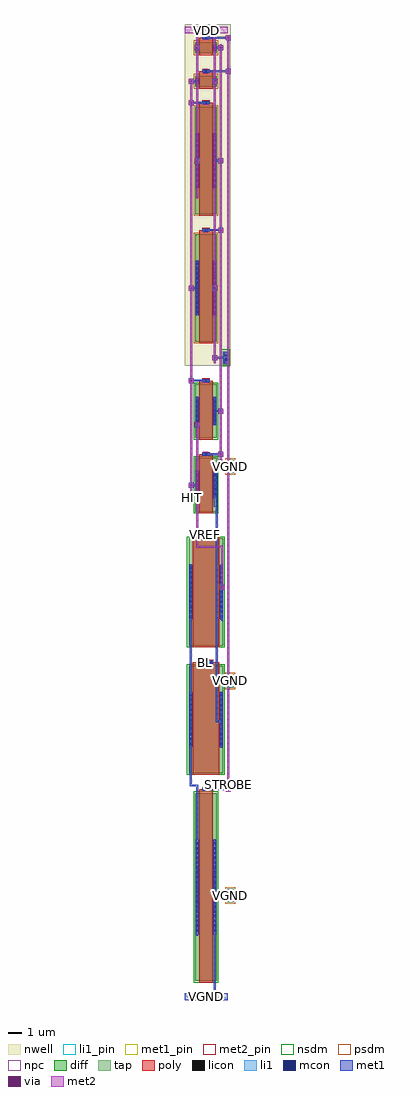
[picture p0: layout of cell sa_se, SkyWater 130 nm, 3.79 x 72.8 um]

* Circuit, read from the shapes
.subckt sa_se BL HIT HITB STROBE VDD VGND VREF
XM1 sa_inp_8/S BL sa_inp_7/D VGND sky130_fd_pr__nfet_01v8 w=8 l=2
XM2 sa_xc_n_2/D VREF sa_inp_7/D VGND sky130_fd_pr__nfet_01v8 w=8 l=2
XM3 VGND STROBE sa_inp_7/D VGND sky130_fd_pr__nfet_01v8 w=14 l=1
XM4 sa_inp_8/S HITB HIT VGND sky130_fd_pr__nfet_01v8 w=4 l=1
XM5 HITB HIT sa_xc_n_2/D VGND sky130_fd_pr__nfet_01v8 w=4 l=1
XM6 VDD HITB HIT VDD sky130_fd_pr__pfet_01v8 w=8 l=1
XM7 HITB HIT VDD VDD sky130_fd_pr__pfet_01v8 w=8 l=1
XM8 VDD STROBE HIT VDD sky130_fd_pr__pfet_01v8 w=0.84 l=1
XM9 HITB STROBE VDD VDD sky130_fd_pr__pfet_01v8 w=0.84 l=1
.ends

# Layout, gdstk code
import gdstk
lib = gdstk.Library(unit=1e-6, precision=1e-09)
def R(c, l, rs):  # rectangles x0, y0, x1, y1
    for r in rs: c.add(gdstk.rectangle(r[:2], r[2:], *l))
def A(c, l, x, y, w, h, nx, ny, dx, dy):  # array of equal rectangles
    R(c, l, [(x+i*dx, y+j*dy, x+i*dx+w, y+j*dy+h) for i in range(nx) for j in range(ny)])
nwell = (64, 20)
diff = (65, 20)
tap = (65, 44)
poly = (66, 20)
licon = (66, 44)
li1_pin = (67, 16)
li1 = (67, 20)
mcon = (67, 44)
met1_pin = (68, 16)
met1 = (68, 20)
via = (68, 44)
met2_pin = (69, 16)
met2 = (69, 20)
nsdm = (93, 44)
psdm = (94, 20)
npc = (95, 20)

sa_xc_p = lib.new_cell('sa_xc_p')
R(sa_xc_p, nwell, [(-0.97,-4.49,0.97,4.32)])
R(sa_xc_p, diff, [(-0.79,-4.18,0.79,3.82)])
R(sa_xc_p, poly, [(-0.5,-4.31,0.5,4.14), (-0.29,4.14,0.29,4.305)])
A(sa_xc_p, licon, -0.73, -2.135, 0.17, 0.17, 1, 12, 0, 0.34)
A(sa_xc_p, licon, 0.56, -2.135, 0.17, 0.17, 1, 12, 0, 0.34)
R(sa_xc_p, licon, [(-0.085,4.055,0.085,4.225)])
R(sa_xc_p, li1, [(-0.73,-2.23,-0.56,1.87), (0.56,-2.23,0.73,1.87), (-0.29,4.055,0.29,4.225)])
A(sa_xc_p, mcon, -0.73, -2.065, 0.17, 0.17, 1, 11, 0, 0.36)
A(sa_xc_p, mcon, 0.56, -2.065, 0.17, 0.17, 1, 11, 0, 0.36)
R(sa_xc_p, mcon, [(-0.085,4.055,0.085,4.225)])
R(sa_xc_p, met1, [(-0.76,-2.21,-0.53,1.85), (0.53,-2.21,0.76,1.85), (-0.27,4.025,0.27,4.255)])
R(sa_xc_p, psdm, [(-0.915,-4.305,0.915,3.945)])
R(sa_xc_p, npc, [(-0.185,3.955,0.185,4.325)])
sa_xc_p.add(gdstk.Label('D', (-0.645,-0.18), layer=67, texttype=5))
sa_xc_p.add(gdstk.Label('S', (0.645,-0.18), layer=67, texttype=5))
sa_xc_p.add(gdstk.Label('G', (0,4.14), layer=67, texttype=5))

sa_xc_n = lib.new_cell('sa_xc_n')
R(sa_xc_n, diff, [(-0.79,-2.155,0.79,1.845)])
R(sa_xc_n, poly, [(-0.5,-2.285,0.5,2.12), (-0.29,2.12,0.29,2.285)])
A(sa_xc_n, licon, -0.73, -1.09, 0.17, 0.17, 1, 6, 0, 0.34)
A(sa_xc_n, licon, 0.56, -1.09, 0.17, 0.17, 1, 6, 0, 0.34)
R(sa_xc_n, licon, [(-0.085,2.035,0.085,2.205)])
R(sa_xc_n, li1, [(-0.73,-1.205,-0.56,0.895), (0.56,-1.205,0.73,0.895), (-0.29,2.035,0.29,2.205)])
A(sa_xc_n, mcon, -0.73, -0.96, 0.17, 0.17, 1, 5, 0, 0.36)
A(sa_xc_n, mcon, 0.56, -0.96, 0.17, 0.17, 1, 5, 0, 0.36)
R(sa_xc_n, mcon, [(-0.085,2.035,0.085,2.205)])
R(sa_xc_n, met1, [(-0.76,-1.185,-0.53,0.875), (0.53,-1.185,0.76,0.875), (-0.27,2.005,0.27,2.235)])
R(sa_xc_n, nsdm, [(-0.915,-2.28,0.915,1.97)])
R(sa_xc_n, npc, [(-0.185,1.935,0.185,2.305)])
sa_xc_n.add(gdstk.Label('D', (-0.645,-0.155), layer=67, texttype=5))
sa_xc_n.add(gdstk.Label('S', (0.645,-0.155), layer=67, texttype=5))
sa_xc_n.add(gdstk.Label('G', (0,2.12), layer=67, texttype=5))

sa_tail = lib.new_cell('sa_tail')
R(sa_tail, diff, [(-0.79,-7.155,0.79,6.845)])
R(sa_tail, poly, [(-0.5,-7.285,0.5,7.12), (-0.29,7.12,0.29,7.285)])
A(sa_tail, licon, -0.73, -3.47, 0.17, 0.17, 1, 20, 0, 0.34)
A(sa_tail, licon, 0.56, -3.47, 0.17, 0.17, 1, 20, 0, 0.34)
R(sa_tail, licon, [(-0.085,7.035,0.085,7.205)])
R(sa_tail, li1, [(-0.73,-3.705,-0.56,3.395), (0.56,-3.705,0.73,3.395), (-0.29,7.035,0.29,7.205)])
A(sa_tail, mcon, -0.73, -3.48, 0.17, 0.17, 1, 19, 0, 0.36)
A(sa_tail, mcon, 0.56, -3.48, 0.17, 0.17, 1, 19, 0, 0.36)
R(sa_tail, mcon, [(-0.085,7.035,0.085,7.205)])
R(sa_tail, met1, [(-0.76,-3.685,-0.53,3.375), (0.53,-3.685,0.76,3.375), (-0.27,7.005,0.27,7.235)])
R(sa_tail, nsdm, [(-0.915,-7.28,0.915,6.97)])
R(sa_tail, npc, [(-0.185,6.935,0.185,7.305)])
sa_tail.add(gdstk.Label('D', (-0.645,-0.155), layer=67, texttype=5))
sa_tail.add(gdstk.Label('S', (0.645,-0.155), layer=67, texttype=5))
sa_tail.add(gdstk.Label('G', (0,7.12), layer=67, texttype=5))

sa_rst = lib.new_cell('sa_rst')
R(sa_rst, nwell, [(-0.97,-0.91,0.97,0.74)])
R(sa_rst, diff, [(-0.79,-0.6,0.79,0.24)])
R(sa_rst, poly, [(-0.5,-0.73,0.5,0.56), (-0.29,0.56,0.29,0.725)])
R(sa_rst, licon, [(-0.73,-0.265,-0.56,-0.095), (0.56,-0.265,0.73,-0.095), (-0.085,0.475,0.085,0.645)])
R(sa_rst, li1, [(-0.73,-0.44,-0.56,0.08), (0.56,-0.44,0.73,0.08), (-0.29,0.475,0.29,0.645)])
R(sa_rst, mcon, [(-0.73,-0.265,-0.56,-0.095), (0.56,-0.265,0.73,-0.095), (-0.085,0.475,0.085,0.645)])
R(sa_rst, met1, [(-0.76,-0.42,-0.53,0.06), (0.53,-0.42,0.76,0.06), (-0.27,0.445,0.27,0.675)])
R(sa_rst, psdm, [(-0.915,-0.725,0.915,0.365)])
R(sa_rst, npc, [(-0.185,0.375,0.185,0.745)])
sa_rst.add(gdstk.Label('D', (-0.645,-0.18), layer=67, texttype=5))
sa_rst.add(gdstk.Label('S', (0.645,-0.18), layer=67, texttype=5))
sa_rst.add(gdstk.Label('G', (0,0.56), layer=67, texttype=5))

sa_inp = lib.new_cell('sa_inp')
R(sa_inp, diff, [(-1.29,-4.155,1.29,3.845)])
R(sa_inp, poly, [(-1,-4.285,1,4.12), (-0.54,4.12,0.54,4.285)])
A(sa_inp, licon, -1.23, -2.11, 0.17, 0.17, 1, 12, 0, 0.34)
A(sa_inp, licon, 1.06, -2.11, 0.17, 0.17, 1, 12, 0, 0.34)
A(sa_inp, licon, -0.425, 4.035, 0.17, 0.17, 3, 1, 0.34, 0)
R(sa_inp, li1, [(-1.23,-2.205,-1.06,1.895), (1.06,-2.205,1.23,1.895), (-0.54,4.035,0.54,4.205)])
A(sa_inp, mcon, -1.23, -2.04, 0.17, 0.17, 1, 11, 0, 0.36)
A(sa_inp, mcon, 1.06, -2.04, 0.17, 0.17, 1, 11, 0, 0.36)
A(sa_inp, mcon, -0.445, 4.035, 0.17, 0.17, 3, 1, 0.36, 0)
R(sa_inp, met1, [(-1.26,-2.185,-1.03,1.875), (1.03,-2.185,1.26,1.875), (-0.52,4.005,0.52,4.235)])
R(sa_inp, nsdm, [(-1.415,-4.28,1.415,3.97)])
R(sa_inp, npc, [(-0.525,3.935,0.525,4.305)])
sa_inp.add(gdstk.Label('D', (-1.145,-0.155), layer=67, texttype=5))
sa_inp.add(gdstk.Label('S', (1.145,-0.155), layer=67, texttype=5))
sa_inp.add(gdstk.Label('G', (0,4.12), layer=67, texttype=5))

sa_se = lib.new_cell('sa_se')
R(sa_se, nwell, [(-0.3,47.5,3.15,73)])
A(sa_se, tap, 2.86, 7.5, 0.5, 1, 1, 3, 0, 16)
R(sa_se, tap, [(2.55,47.6,2.95,48.6)])
R(sa_se, licon, [(3.025,7.745,3.195,7.915), (3.025,8.085,3.195,8.255), (3.025,23.745,3.195,23.915), (3.025,24.085,3.195,24.255), (3.025,39.745,3.195,39.915), (3.025,40.085,3.195,40.255), (2.675,47.845,2.845,48.015), (2.675,48.185,2.845,48.355)])
A(sa_se, li1_pin, 2.9, 7.55, 0.42, 0.9, 1, 3, 0, 16)
A(sa_se, li1, 2.9, 7.55, 0.42, 0.9, 1, 3, 0, 16)
R(sa_se, li1, [(2.58,47.65,2.92,48.55)])
R(sa_se, mcon, [(2.69,47.93,2.86,48.1)])
R(sa_se, met1_pin, [(-0.3,0.2,2.9,0.7)])
R(sa_se, met1, [(-0.3,0.2,2.9,0.7), (1.865,0.7,2.005,12.14), (0.575,5,0.715,16.13), (2.75,15.715,3.13,15.835), (1.29,15.835,3.13,15.975), (2.75,15.975,3.13,16.095), (0.075,16.13,0.715,16.27), (0.075,16.27,0.215,32.7), (2.365,19,2.505,20.93), (2.02,20.93,2.505,21.07), (2.02,21.07,2.16,37), (2.365,21.07,2.505,22), (1.1,25.215,1.48,25.595), (2.43,28.5,2.57,30.81), (2.31,30.81,2.69,31.19), (2.43,31.19,2.57,32.7), (1.1,34.715,1.48,35.095), (1.865,37,2.16,39.7), (0.01,38.41,0.39,38.53), (0.01,38.53,0.715,38.67), (0.01,38.67,0.39,38.79), (2.21,40.715,2.59,40.835), (1.29,40.835,2.59,40.975), (2.21,40.975,2.59,41.095), (0.455,42.91,0.835,43.29), (0.575,43.29,0.715,45.2), (2.21,43.94,2.59,44.06), (1.935,44.06,2.59,44.2), (2.21,44.2,2.59,44.32), (0.01,46.215,0.39,46.335), (0.01,46.335,1.29,46.475), (0.01,46.475,0.39,46.595), (2.64,47.7,2.92,48.03), (1.745,47.91,2.125,48.03), (1.745,48.03,2.92,48.17), (1.745,48.17,2.125,48.29), (2.64,48.17,2.92,48.5), (0.01,53.11,0.39,53.23), (1.745,53.11,2.125,53.49), (0.01,53.23,0.715,53.37), (0.01,53.37,0.39,53.49), (2.21,57.44,2.59,57.56), (1.29,57.56,2.59,57.7), (2.21,57.7,2.59,57.82), (0.455,62.62,0.835,63), (2.21,62.62,2.59,62.74), (1.935,62.74,2.59,62.88), (2.21,62.88,2.59,63), (0.01,66.94,0.39,67.06), (0.01,67.06,1.29,67.2), (0.01,67.2,0.39,67.32), (0.01,68.54,0.39,68.66), (1.745,68.54,2.125,68.92), (0.01,68.66,0.715,68.8), (0.01,68.8,0.39,68.92), (2.75,69.28,3.13,69.4), (1.29,69.4,3.13,69.54), (2.75,69.54,3.13,69.66), (0.455,71.04,0.835,71.42), (2.21,71.04,2.59,71.16), (1.935,71.16,2.59,71.3), (2.21,71.3,2.59,71.42), (2.75,71.78,3.13,71.9), (1.29,71.9,3.13,72.04), (2.75,72.04,3.13,72.16)])
R(sa_se, via, [(2.865,15.83,3.015,15.98), (1.215,25.33,1.365,25.48), (2.425,30.925,2.575,31.075), (1.215,34.83,1.365,34.98), (0.125,38.525,0.275,38.675), (2.325,40.83,2.475,40.98), (0.57,43.025,0.72,43.175), (2.325,44.055,2.475,44.205), (0.125,46.33,0.275,46.48), (1.86,48.025,2.01,48.175), (0.125,53.225,0.275,53.375), (1.86,53.225,2.01,53.375), (2.325,57.555,2.475,57.705), (0.57,62.735,0.72,62.885), (2.325,62.735,2.475,62.885), (0.125,67.055,0.275,67.205), (0.125,68.655,0.275,68.805), (1.86,68.655,2.01,68.805), (2.865,69.395,3.015,69.545), (0.57,71.155,0.72,71.305), (2.325,71.155,2.475,71.305), (2.865,71.895,3.015,72.045)])
R(sa_se, met2_pin, [(2.8,16,3.08,16.5), (1.15,25.1,1.43,25.7), (1.15,34.6,1.43,35.2), (0.06,37.4,0.34,37.9), (2.26,40,2.54,40.5), (-0.3,72.3,2.9,72.8)])
R(sa_se, met2, [(2.75,15.715,3.13,16.095), (2.8,16.095,3.08,16.5), (2.87,16.5,3.01,69.28), (1.15,25.1,1.43,25.215), (1.1,25.215,1.48,25.595), (1.15,25.595,1.43,25.7), (2.43,30.8,2.57,30.81), (2.31,30.81,2.69,31.19), (2.43,31.19,2.57,33.93), (0.575,33.93,2.575,34.07), (0.575,34.07,0.715,42.91), (2.43,34.07,2.57,34.1), (1.15,34.6,1.43,34.715), (1.1,34.715,1.48,35.095), (1.15,35.095,1.43,35.2), (0.06,37.4,0.34,37.9), (0.13,37.9,0.27,38.41), (0.01,38.41,0.39,38.79), (0.13,38.79,0.27,46.215), (2.26,40,2.54,40.5), (2.33,40.5,2.47,40.715), (2.21,40.715,2.59,41.095), (2.33,41.095,2.47,43.94), (0.455,42.91,0.835,43.29), (2.21,43.94,2.59,44.32), (2.33,44.32,2.47,57.44), (0.01,46.215,0.39,46.595), (0.13,46.595,0.27,53.11), (1.865,47.7,2.005,47.91), (1.745,47.91,2.125,48.29), (1.865,48.29,2.005,53.11), (0.01,53.11,0.39,53.49), (1.745,53.11,2.125,53.49), (0.13,53.49,0.27,66.94), (1.865,53.49,2.005,68.54), (2.21,57.44,2.59,57.82), (2.33,57.82,2.47,62.62), (0.575,60,0.715,62.62), (0.455,62.62,0.835,63), (2.21,62.62,2.59,63), (0.575,63,0.715,71.04), (2.33,63,2.47,71.04), (0.01,66.94,0.39,67.32), (0.13,67.32,0.27,68.54), (0.01,68.54,0.39,68.92), (1.745,68.54,2.125,68.92), (1.865,68.92,2.005,72.3), (2.75,69.28,3.13,69.66), (2.87,69.66,3.01,71.78), (0.455,71.04,0.835,71.42), (2.21,71.04,2.59,71.42), (0.575,71.42,0.715,72.3), (2.33,71.42,2.47,71.5), (2.75,71.78,3.13,72.16), (-0.3,72.3,2.9,72.8)])
R(sa_se, nsdm, [(2.425,47.475,3.075,48.725)])
A(sa_se, psdm, 2.735, 7.375, 0.75, 1.25, 1, 3, 0, 16)
sa_se.add(gdstk.Reference(sa_xc_p, (1.29,62.99)))
sa_se.add(gdstk.Reference(sa_xc_p, (1.29,53.49)))
sa_se.add(gdstk.Reference(sa_xc_n, (1.29,44.285)))
sa_se.add(gdstk.Reference(sa_xc_n, (1.29,38.785)))
sa_se.add(gdstk.Reference(sa_tail, (1.29,8.785)))
sa_se.add(gdstk.Reference(sa_rst, (1.29,71.41)))
sa_se.add(gdstk.Reference(sa_rst, (1.29,68.91)))
sa_se.add(gdstk.Reference(sa_inp, (1.29,30.785)))
sa_se.add(gdstk.Reference(sa_inp, (1.29,21.285)))
sa_se.add(gdstk.Label('VGND', (3.11,40), layer=67, texttype=5))
sa_se.add(gdstk.Label('VGND', (3.11,24), layer=67, texttype=5))
sa_se.add(gdstk.Label('VGND', (3.11,8), layer=67, texttype=5))
sa_se.add(gdstk.Label('VGND', (1.3,0.45), layer=68, texttype=5))
sa_se.add(gdstk.Label('VDD', (1.3,72.55), layer=69, texttype=5))
sa_se.add(gdstk.Label('BL', (1.29,25.4), layer=69, texttype=5))
sa_se.add(gdstk.Label('VREF', (1.29,34.9), layer=69, texttype=5))
sa_se.add(gdstk.Label('HIT', (0.2,37.65), layer=69, texttype=5))
sa_se.add(gdstk.Label('HITB', (2.4,40.25), layer=69, texttype=5))
sa_se.add(gdstk.Label('STROBE', (2.94,16.25), layer=69, texttype=5))

lib.write_gds('sa_se.gds')
